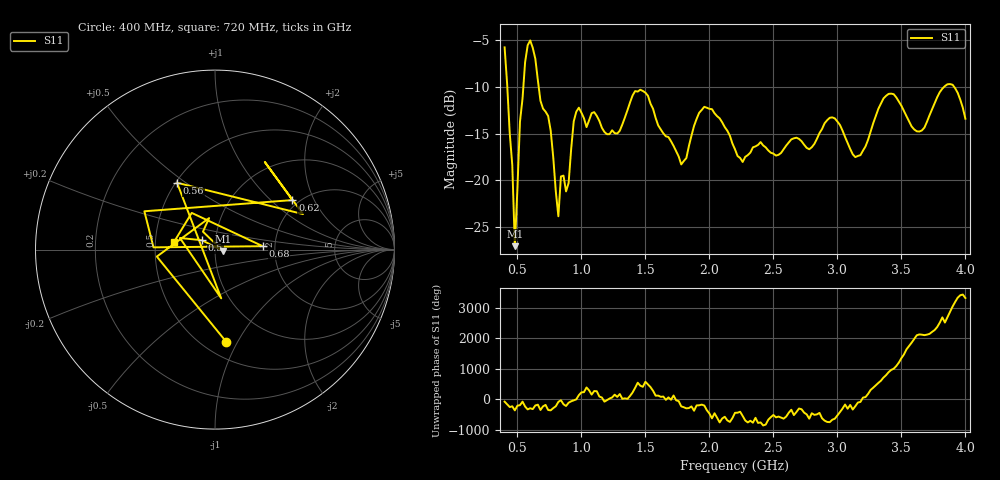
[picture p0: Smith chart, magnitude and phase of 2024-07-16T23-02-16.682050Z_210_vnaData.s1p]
!Created with skrf (http://scikit-rf.org).
# Hz S RI R 50.0
!freq ReS11 ImS11
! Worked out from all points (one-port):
!   181 points, 400 MHz to 4 GHz, reference 50 ohm
!   lowest |S11| = -27.1 dB at 480 MHz (marker M1), VSWR 1.09, Z = 54.6 - j0.754 ohm
!   |S11| at or under -10 dB: 421 MHz to 546.5 MHz (125.4 MHz wide, 25.9 % of centre); 666.4 MHz to 3.833 GHz (3.167 GHz wide, 141 % of centre); 3.913 GHz to end of sweep
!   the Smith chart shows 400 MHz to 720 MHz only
!   S11 on the Smith chart (normalised r, x): 400 MHz: 0.64, -0.90; 500 MHz: 0.86, +0.09; 560 MHz: 0.51, +0.46; 620 MHz: 1.85, +1.38; 680 MHz: 1.72, +0.07; 720 MHz: 0.63, +0.05
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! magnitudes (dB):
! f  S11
! 400 MHz  -5.8
! 460 MHz  -18.4
! 480 MHz  -27.1
! 500 MHz  -20.9
! 520 MHz  -13.7
! 560 MHz  -7.4
! 620 MHz  -5.8
! 680 MHz  -11.5
! 720 MHz  -12.7
! 760 MHz  -14.7
! 820 MHz  -23.9
! 860 MHz  -19.5
! 900 MHz  -20.3
! 940 MHz  -13.7
! 980 MHz  -12.2
! 1.3 GHz  -14.7
! 1.46 GHz  -10.3
! 1.76 GHz  -17.5
! 1.96 GHz  -12.1
! 2.2 GHz  -16.7
! 2.66 GHz  -15.5
! 2.96 GHz  -13.3
! 3.1 GHz  -16.7
! 3.18 GHz  -17.3
! 3.4 GHz  -10.7
! 3.56 GHz  -13.7
! 3.88 GHz  -9.7
! 4 GHz  -13.4
